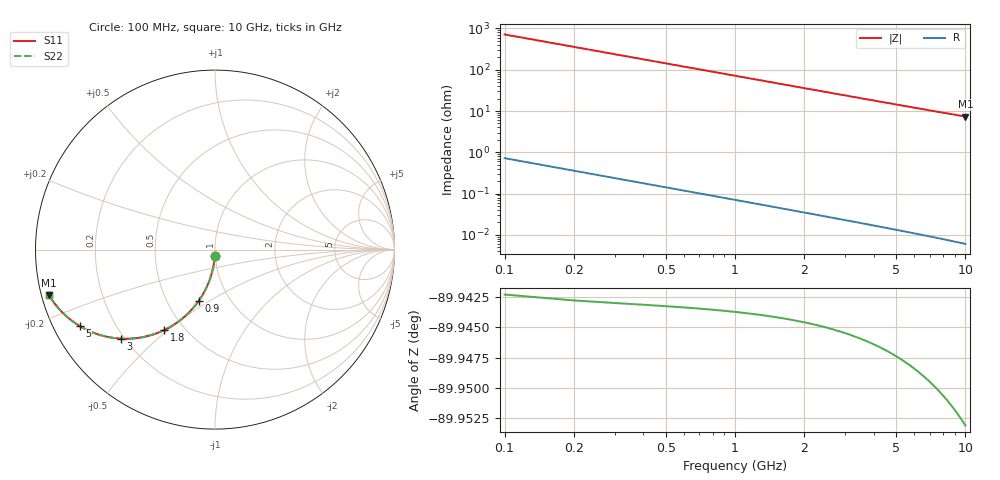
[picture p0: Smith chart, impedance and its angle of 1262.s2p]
# Hz S RI R 50.00
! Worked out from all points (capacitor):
!   100 points, 100 MHz to 10 GHz, reference 50 ohm
!   read as one part in shunt: C = 2.22 pF near 100 MHz
!   lowest |Z| = 7.36 ohm at 10 GHz (marker M1)
!   S11 on the Smith chart (normalised r, x): 100 MHz: 1.00, -0.07; 900 MHz: 0.72, -0.45; 1.8 GHz: 0.39, -0.49; 3 GHz: 0.19, -0.39; 5 GHz: 0.08, -0.26; 10 GHz: 0.02, -0.13
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1e8  -0.0012 -0.0348  0.9987 -0.035  0.9987 -0.035  -0.0012 -0.0348
2e8  -0.00487 -0.0693  0.995 -0.0697  0.995 -0.0697  -0.00487 -0.0693
3e8  -0.0109 -0.1033  0.989 -0.1039  0.989 -0.1039  -0.0109 -0.1033
4e8  -0.0192 -0.1366  0.9807 -0.1373  0.9807 -0.1373  -0.0192 -0.1366
5e8  -0.0297 -0.1689  0.9702 -0.1698  0.9702 -0.1698  -0.0297 -0.1689
6e8  -0.0422 -0.2  0.9577 -0.2011  0.9577 -0.2011  -0.0422 -0.2
7e8  -0.0565 -0.2299  0.9434 -0.2312  0.9434 -0.2312  -0.0565 -0.2299
9e8  -0.09 -0.285  0.9099 -0.2866  0.9099 -0.2866  -0.09 -0.285
1.1e9  -0.1287 -0.3334  0.8712 -0.3355  0.8712 -0.3355  -0.1287 -0.3334
1.3e9  -0.171 -0.3748  0.8289 -0.3772  0.8289 -0.3772  -0.171 -0.3748
1.5e9  -0.2154 -0.4092  0.7845 -0.412  0.7845 -0.412  -0.2154 -0.4092
1.8e9  -0.2832 -0.4484  0.7167 -0.4518  0.7167 -0.4518  -0.2832 -0.4484
2.4e9  -0.4125 -0.4896  0.5874 -0.494  0.5874 -0.494  -0.4125 -0.4896
3e9  -0.523 -0.4962  0.4768 -0.5017  0.4768 -0.5017  -0.523 -0.4962
3.4e9  -0.5848 -0.4891  0.4151 -0.4954  0.4151 -0.4954  -0.5848 -0.4891
4.2e9  -0.6824 -0.4611  0.3174 -0.4689  0.3174 -0.4689  -0.6824 -0.4611
5e9  -0.7528 -0.4261  0.247 -0.4355  0.247 -0.4355  -0.7528 -0.4261
5.1e9  -0.7601 -0.4217  0.2397 -0.4312  0.2397 -0.4312  -0.7601 -0.4217
5.9e9  -0.8093 -0.3868  0.1905 -0.3978  0.1905 -0.3978  -0.8093 -0.3868
6.7e9  -0.8456 -0.3545  0.1542 -0.367  0.1542 -0.367  -0.8456 -0.3545
8.4e9  -0.8961 -0.2965  0.1037 -0.3124  0.1037 -0.3124  -0.8961 -0.2965
1e10  -0.9246 -0.2538  0.0751 -0.2728  0.0751 -0.2728  -0.9246 -0.2538
